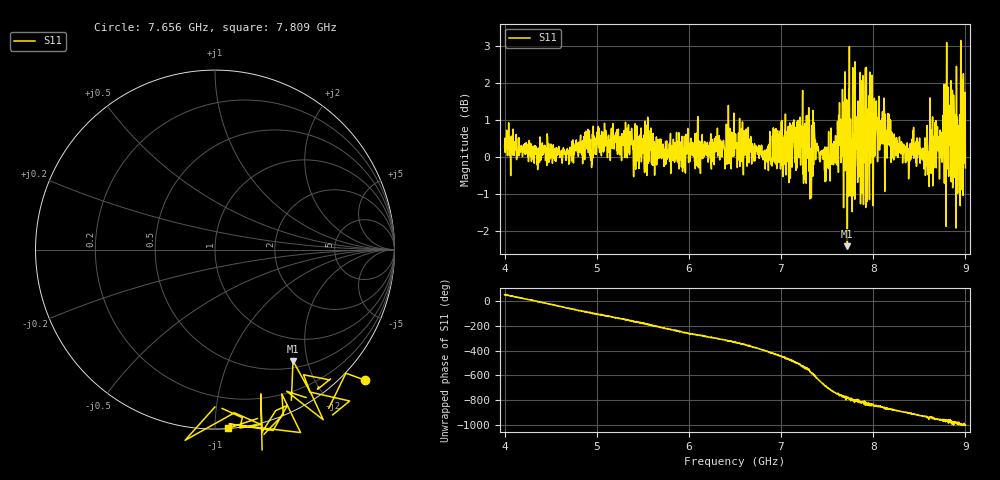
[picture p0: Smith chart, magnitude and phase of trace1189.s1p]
! Created with skrf 1.8.0 (http://scikit-rf.org).
# Hz S RI R 50.0
!freq ReS11 ImS11
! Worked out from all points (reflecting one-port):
!   1601 points, 4 GHz to 9 GHz, reference 50 ohm
!   lowest |S11| = -2.4 dB at 7.719 GHz (marker M1), VSWR 7.26, Z = 30.2 - j88.1 ohm
!   phase of S11 starts at 51 deg and turns -1052 deg over the sweep
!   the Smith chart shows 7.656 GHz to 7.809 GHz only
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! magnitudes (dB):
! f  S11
! 4 GHz  0.3
! 4.625 GHz  -0.2
! 4.897 GHz  0.3
! 5.25 GHz  0.1
! 5.875 GHz  -0.1
! 6.5 GHz  0.4
! 6.878 GHz  0.7
! 7.125 GHz  0.3
! 7.209 GHz  0.3
! 7.262 GHz  0.1
! 7.284 GHz  0.6
! 7.328 GHz  -1.1
! 7.372 GHz  0.5
! 7.509 GHz  -0.1
! 7.647 GHz  1.0
! 7.688 GHz  1.1
! 7.703 GHz  -0.3
! 7.719 GHz  -2.4
! 7.75 GHz  -1.1
! 7.775 GHz  1.2
! 7.834 GHz  1.5
! 8.097 GHz  0.5
! 8.375 GHz  0.1
! 8.725 GHz  0.7
! 8.822 GHz  1.4
! 8.875 GHz  1.3
! 8.972 GHz  0.4
! 9 GHz  -0.3
